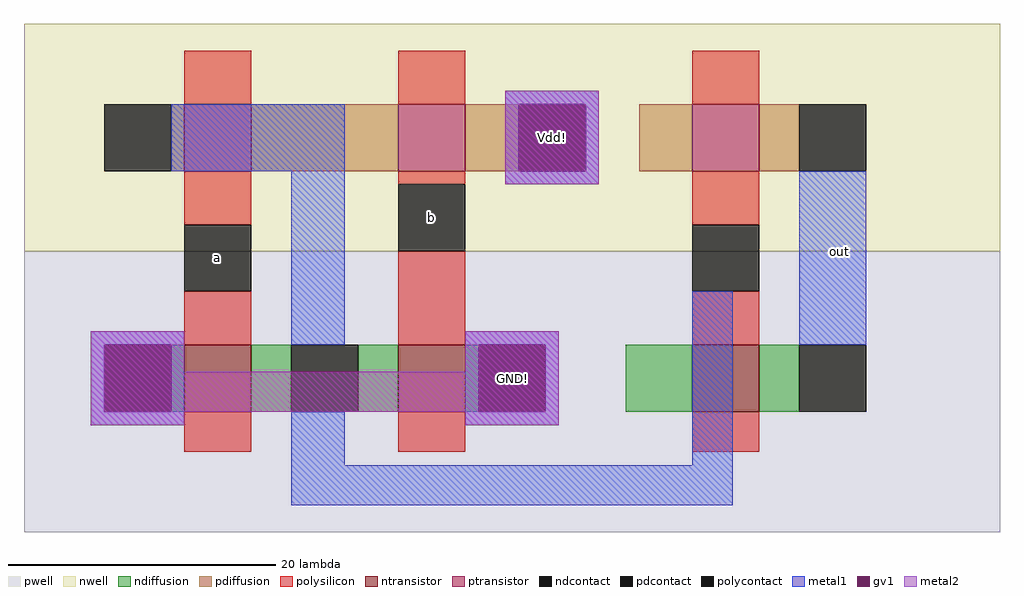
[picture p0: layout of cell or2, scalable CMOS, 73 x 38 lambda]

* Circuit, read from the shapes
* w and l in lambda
.subckt or2 GND! Vdd! a b out
M1 n1 a GND! VSUBS nfet w=5 l=5
M2 GND! b n1 VSUBS nfet w=5 l=5
M3 out n1 n2 VSUBS nfet w=5 l=5
M4 n3 a n1 n4 pfet w=5 l=5
M5 Vdd! b n3 n4 pfet w=5 l=5
M6 out n1 n5 n4 pfet w=5 l=5
.ends

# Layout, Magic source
magic
tech scmos
<< nwell >>
rect -17 -2 56 15
<< pwell >>
rect -17 -23 56 -2
<< ntransistor >>
rect -5 -14 0 -9
rect 11 -14 16 -9
rect 33 -14 38 -9
<< ptransistor >>
rect -5 4 0 9
rect 11 4 16 9
rect 33 4 38 9
<< ndiffusion >>
rect -6 -14 -5 -9
rect 0 -14 3 -9
rect 8 -14 11 -9
rect 16 -14 17 -9
rect 28 -14 33 -9
rect 38 -14 41 -9
<< pdiffusion >>
rect -6 4 -5 9
rect 0 4 11 9
rect 16 4 20 9
rect 29 4 33 9
rect 38 4 41 9
<< ndcontact >>
rect -11 -14 -6 -9
rect 3 -14 8 -9
rect 17 -14 22 -9
rect 41 -14 46 -9
<< pdcontact >>
rect -11 4 -6 9
rect 20 4 25 9
rect 41 4 46 9
<< polysilicon >>
rect -5 9 0 13
rect 11 9 16 13
rect 33 9 38 13
rect -5 0 0 4
rect -5 -9 0 -5
rect 11 3 16 4
rect 11 -9 16 -2
rect 33 0 38 4
rect 33 -9 38 -5
rect -5 -17 0 -14
rect 11 -17 16 -14
rect 33 -17 38 -14
<< polycontact >>
rect -5 -5 0 0
rect 11 -2 16 3
rect 33 -5 38 0
<< metal1 >>
rect 19 9 26 10
rect -6 4 7 9
rect -12 -9 -5 -8
rect -12 -14 -11 -9
rect -6 -14 -5 -9
rect -12 -15 -5 -14
rect 3 -9 7 4
rect 19 4 20 9
rect 25 4 26 9
rect 19 3 26 4
rect 16 -9 23 -8
rect 16 -14 17 -9
rect 22 -14 23 -9
rect 3 -18 7 -14
rect 16 -15 23 -14
rect 33 -18 36 -5
rect 41 -9 46 4
rect 3 -21 36 -18
<< metal2 >>
rect 19 3 26 10
rect -12 -11 -5 -8
rect 16 -11 23 -8
rect -12 -14 23 -11
rect -12 -15 -5 -14
rect 16 -15 23 -14
<< gv1 >>
rect 20 4 25 9
rect -11 -14 -6 -9
rect 17 -14 22 -9
<< labels >>
rlabel polycontact -3 -3 -2 -2 1 a
rlabel gv1 19 -12 20 -11 1 GND!
rlabel polycontact 13 0 14 1 1 b
rlabel gv1 22 6 23 7 1 Vdd!
rlabel metal1 43 -3 45 -1 1 out
<< end >>
